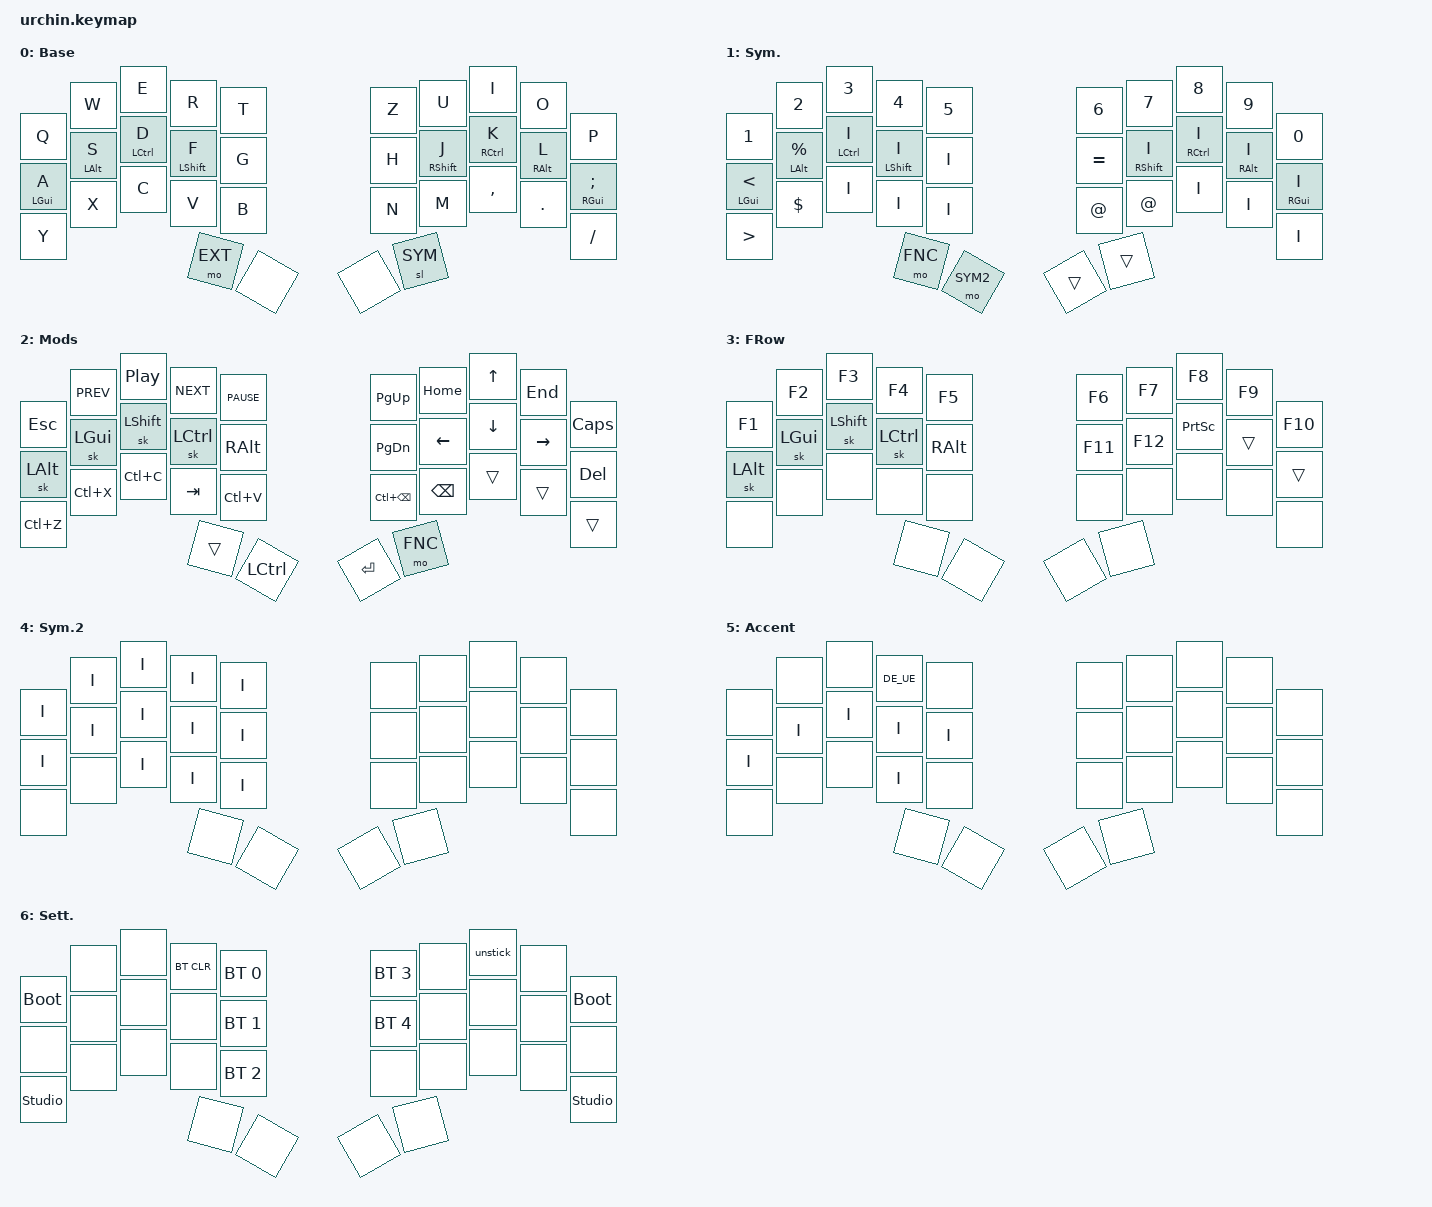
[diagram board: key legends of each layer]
/*
 * Copyright (c) 2020 duckyb
 *
 * SPDX-License-Identifier: MIT
 */

#include <behaviors.dtsi>
#include <dt-bindings/zmk/keys.h>
#include <dt-bindings/zmk/bt.h>
#include <dt-bindings/zmk/outputs.h>
#include <locale/keys_de.h>

// Layer definitions
#define BASE 0
#define SYM 1
#define EXT 2
#define FNC 3
#define SYM2 4
#define ACCENT 5
#define SETTINGS 6
// -----------------

&sk {
	// don't release mods on other mods presses
	ignore-modifiers;
};


/ {
	behaviors {
		// Enables holding the first mod-tap key
		// by performing a tap-release-hold sequence.
		// To use it: "&qt KEYCODE1 KEYCODE2"
		qt: quick_tap {
			compatible = "zmk,behavior-hold-tap";
			label = "QUICK_TAP";
			#binding-cells = <2>;
			flavor = "hold-preferred";
			tapping-term-ms = <200>;
			quick-tap-ms = <200>;
			bindings = <&kp>, <&kp>;
		};
	};

	macros {
		// sometimes my device thinks a modifier is being held down
		// pressing all modifiers fixes it.
		unstick: unstick {
			label = "ZM_unstick";
			compatible = "zmk,behavior-macro";
			#binding-cells = <0>;
			bindings = <&kp LSHIFT &kp RSHIFT &kp LCTRL &kp RCTRL &kp LALT &kp RALT &kp LGUI &kp RGUI>;
		};
	};

	combos {
		compatible = "zmk,combos";
		// both right thumb keys
		combo_accent {
			timeout-ms = <200>;
			key-positions = <32 33>;
			bindings = <&mo ACCENT>;
		};
		// internal-left & external-right thumb keys
		combo_sym2 {
			timeout-ms = <200>;
			key-positions = <31 33>;
			bindings = <&mo SYM2>;
		};
		// both left thumb keys
		combo_settings {
			timeout-ms = <200>;
			key-positions = <30 31>;
			bindings = <&mo SETTINGS>;
		};

		// PARENTHESIS BRACKET BRACE
		combo_left_parenthesis {
			timeout-ms = <200>;
			key-positions = <6 7>;
			bindings = <&kp LEFT_PARENTHESIS>;
			layers = <BASE>;
		};

		combo_right_parenthesis {
			timeout-ms = <200>;
			key-positions = <7 8>;
			bindings = <&kp RIGHT_PARENTHESIS>;
			layers = <BASE>;
		};

		combo_left_bracket {
			timeout-ms = <200>;
			key-positions = <16 17>;
			bindings = <&kp LEFT_BRACKET>;
			layers = <BASE>;
		};

		combo_right_bracket {
			timeout-ms = <200>;
			key-positions = <17 18>;
			bindings = <&kp RIGHT_BRACKET>;
			layers = <BASE>;
		};

		combo_left_brace {
			timeout-ms = <200>;
			key-positions = <26 27>;
			bindings = <&kp LEFT_BRACE>;
			layers = <BASE>;
		};

		combo_right_brace {
			timeout-ms = <200>;
			key-positions = <27 28>;
			bindings = <&kp RIGHT_BRACE>;
			layers = <BASE>;
		};


		// SPACE BSPACE ENTER
		combo_space {
			timeout-ms = <200>;
			key-positions = <0 1>;
			bindings = <&kp SPACE>;
			layers = <BASE>;
		};

		combo_bspace {
			timeout-ms = <200>;
			key-positions = <1 2>;
			bindings = <&kp BACKSPACE>;
			layers = <BASE>;
		};

		combo_enter {
			timeout-ms = <200>;
			key-positions = <2 3>;
			bindings = <&kp ENTER>;
			layers = <BASE>;
		};

		// COPY CUT PASTE
		combo_copy {
			timeout-ms = <200>;
			key-positions = <20 21>;
			bindings = <&kp K_COPY>;
			layers = <BASE>;
		};

		combo_cut {
			timeout-ms = <200>;
			key-positions = <21 22>;
			bindings = <&kp K_CUT>;
			layers = <BASE>;
		};

		combo_paste {
			timeout-ms = <200>;
			key-positions = <22 23>;
			bindings = <&kp K_PASTE>;
			layers = <BASE>;
		};
	};

	keymap {
		compatible = "zmk,keymap";
		// Base alpha layer
		default_layer {
			label = "Base";
			bindings = <
			&kp Q &kp W &kp E &kp R &kp T           &kp Z &kp U &kp I &kp O &kp P 
			&mt LGUI A  &mt LALT S  &mt LCTRL D  &mt LSHFT F  &kp G    &kp H  &mt RSHFT J  &mt RCTRL K  &mt RALT L  &mt RGUI SEMICOLON
			&kp Y &kp X &kp C &kp V &kp B           &kp N &kp M &kp COMMA &kp DOT &kp SLASH
							&mo EXT &none           &none &sl SYM
			>;
		};

		// Numbers and high frequency symbols
		sym_layer {
			label = "Sym.";
			bindings = <
			&kp N1 &kp N2 &kp N3 &kp N4 &kp N5		                                    &kp N6 &kp N7 &kp N8 &kp N9 &kp N0
			&mt LGUI LT &mt LALT PERCENT &mt LCTRL I &mt LSHFT I &kp I     &kp EQUAL &mt RSHFT I &mt RCTRL I &mt RALT I &mt RGUI I
			&kp GT &kp DOLLAR &kp I &kp I &kp I 	&kp AT_SIGN &kp AT_SIGN &kp I &kp I &kp I
														&mo FNC  &mo SYM2       &trans &trans
			>;
		};

		// Main modifiers and arrow keys
		ext_layer {
			label = "Mods";
			bindings = <
			&kp ESC  &kp C_PREV &kp C_PP  &kp C_NEXT  &kp C_PAUSE    	&kp PG_UP  &kp HOME &kp UP &kp END &kp CAPS
			&sk LALT &sk LGUI  &sk LSHIFT  &sk LCTRL  &kp RALT 			&kp PG_DN &kp LEFT  &kp DOWN  &kp RIGHT   &kp DEL
			&kp LC(Z)  &kp LC(X) &kp LC(C) &kp TAB   &kp LC(V)          &kp LC(BSPC) &kp BSPC &trans &trans  &trans
																		&trans &kp LCTRL    &kp ENTER  &mo FNC 
			>;
		};

		// Function keys with modifiers
		fnc_layer {
			label = "FRow";
			bindings = <
			&kp F1 &kp F2 &kp F3 &kp F4 &kp F5                  &kp F6 &kp F7 &kp F8 &kp F9 &kp F10 
			&sk LALT &sk LGUI &sk LSHIFT &sk LCTRL &kp RALT     &kp F11 &kp F12  &kp PRINTSCREEN &trans &trans
			&none &none &none &none &none				          &none &none &none &none &none 
							  &none &none              &none &none  
			>;
		};

		// Low frequency symbols.
		symbols_2_layer {
			label = "Sym.2";
			bindings = <
			&kp I &kp I &kp I &kp I &kp I       &none &none &none &none &none 
			&kp I &kp I &kp I &kp I &kp I         &none &none &none &none &none
			&none 			&none 			 &kp I &kp I &kp I				  &none &none &none &none &none
																	&none &none        	&none &none 
			>;
		};

		// Used to type regional accents.
		accent_layer {
			label = "Accent";
			bindings = <
			&none &none &none &kp DE_UE &none                         &none &none &none &none &none 
			&kp I &kp I &kp I &kp I &kp I &none &none &none &none &none
			&none &none &none &kp I &none                         &none &none &none &none &none
									&none &none                         &none &none 
			>;
		};

		// Used to change the keyboard's settings.
		settings_layer {
				label = "Sett.";
				bindings = <
				&bootloader &none &none &bt BT_CLR &bt BT_SEL 0               &bt BT_SEL 3 &none &unstick &none &bootloader 
				&none &none &none &none      &bt BT_SEL 1 						  &bt BT_SEL 4 &none &none &none &none
				&studio_unlock &none &none &none      &bt BT_SEL 2               &none &none &none &none &studio_unlock
										&none &none                         &none &none 
				>;
		};
	};
};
